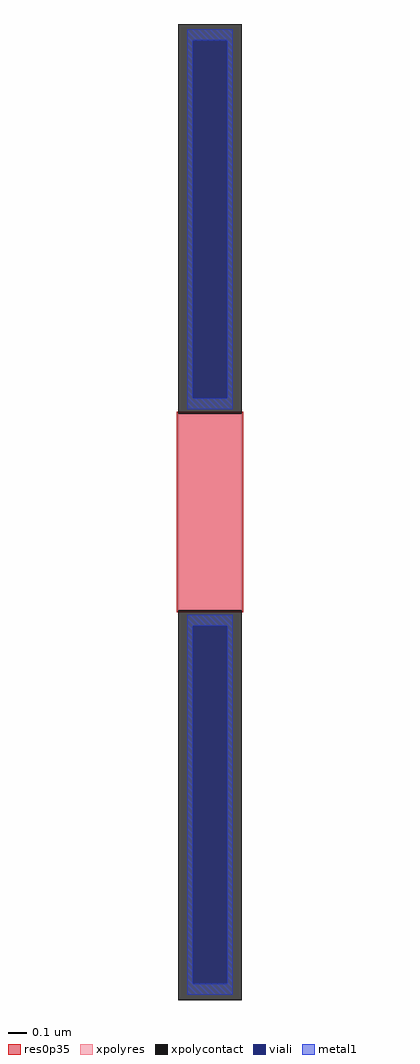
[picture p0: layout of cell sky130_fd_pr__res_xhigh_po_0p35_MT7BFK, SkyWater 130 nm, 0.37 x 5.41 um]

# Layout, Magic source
magic
tech sky130A
magscale 1 2
<< xpolycontact >>
rect -35 109 35 541
rect -35 -541 35 -109
<< xpolyres >>
rect -35 -109 35 109
<< viali >>
rect -19 126 19 523
rect -19 -523 19 -126
<< metal1 >>
rect -25 523 25 535
rect -25 126 -19 523
rect 19 126 25 523
rect -25 114 25 126
rect -25 -126 25 -114
rect -25 -523 -19 -126
rect 19 -523 25 -126
rect -25 -535 25 -523
<< res0p35 >>
rect -37 -111 37 111
<< properties >>
string gencell sky130_fd_pr__res_xhigh_po_0p35
string parameters w 0.350 l 1.09 m 1 nx 1 wmin 0.350 lmin 0.50 rho 2000 val 6.914k dummy 0 dw 0.0 term 120 sterm 0.0 caplen 0 wmax 0.350 guard 0 glc 0 grc 0 gtc 0 gbc 0 compatible {sky130_fd_pr__res_xhigh_po_0p35  sky130_fd_pr__res_xhigh_po_0p69 sky130_fd_pr__res_xhigh_po_1p41  sky130_fd_pr__res_xhigh_po_2p85 sky130_fd_pr__res_xhigh_po_5p73} full_metal 0 vias 1 viagb 0 viagt 0 viagl 0 viagr 0
string library sky130
<< end >>
